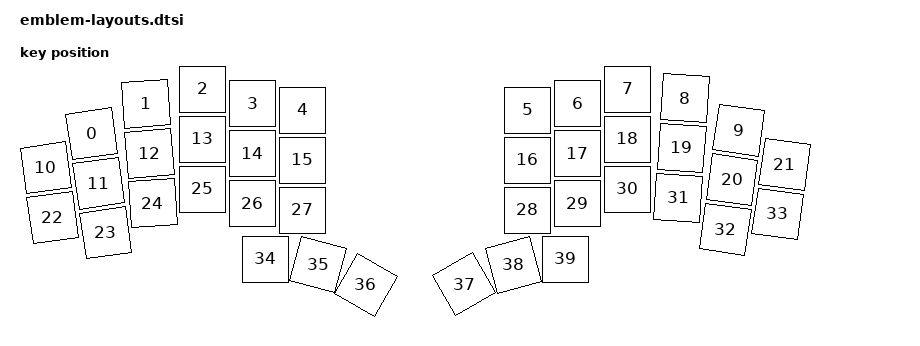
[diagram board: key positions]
#include <physical_layouts.dtsi>

/ {
    emblem_layout: emblem_layout {
        compatible = "zmk,physical-layout";
        display-name = "Emblem Layout";

        keys  //                     w   h    x    y     rot    rx    ry
            = <&key_physical_attrs 100 100  100   95  (-800)   100   300>
            , <&key_physical_attrs 100 100  195   32  (-400)   200   200>
            , <&key_physical_attrs 100 100  300    0       0     0     0>
            , <&key_physical_attrs 100 100  400   29       0     0     0>
            , <&key_physical_attrs 100 100  500   42       0     0     0>
            , <&key_physical_attrs 100 100  950   42       0     0     0>
            , <&key_physical_attrs 100 100 1050   29       0     0     0>
            , <&key_physical_attrs 100 100 1150    0       0     0     0>
            , <&key_physical_attrs 100 100 1249   32     400  1500   300>
            , <&key_physical_attrs 100 100 1350   95     800  1500   300>
            , <&key_physical_attrs 100 100    0  150  (-800)   100   300>
            , <&key_physical_attrs 100 100  100  195  (-800)   100   300>
            , <&key_physical_attrs 100 100  195  132  (-400)   200   200>
            , <&key_physical_attrs 100 100  300  100       0     0     0>
            , <&key_physical_attrs 100 100  400  129       0     0     0>
            , <&key_physical_attrs 100 100  500  142       0     0     0>
            , <&key_physical_attrs 100 100  950  142       0     0     0>
            , <&key_physical_attrs 100 100 1050  129       0     0     0>
            , <&key_physical_attrs 100 100 1150  100       0     0     0>
            , <&key_physical_attrs 100 100 1249  132     400  1500   300>
            , <&key_physical_attrs 100 100 1350  195     800  1500   300>
            , <&key_physical_attrs 100 100 1450  150     800  1500   300>
            , <&key_physical_attrs 100 100    0  250  (-800)   100   300>
            , <&key_physical_attrs 100 100  100  295  (-800)   100   300>
            , <&key_physical_attrs 100 100  195  232  (-400)   200   200>
            , <&key_physical_attrs 100 100  300  200       0     0     0>
            , <&key_physical_attrs 100 100  400  229       0     0     0>
            , <&key_physical_attrs 100 100  500  242       0     0     0>
            , <&key_physical_attrs 100 100  950  242       0     0     0>
            , <&key_physical_attrs 100 100 1050  229       0     0     0>
            , <&key_physical_attrs 100 100 1150  200       0     0     0>
            , <&key_physical_attrs 100 100 1249  232     400  1500   300>
            , <&key_physical_attrs 100 100 1350  295     800  1500   300>
            , <&key_physical_attrs 100 100 1450  250     800  1500   300>
            , <&key_physical_attrs 100 100  425  340       0   530   455>
            , <&key_physical_attrs 100 100  515  340    1500   530   455>
            , <&key_physical_attrs 100 100  600  320    3000   530   455>
            , <&key_physical_attrs 100 100  830  394 (-3000)   870   455>
            , <&key_physical_attrs 100 100  932  380 (-1500)   870   455>
            , <&key_physical_attrs 100 100 1025  340       0   870   455>
            ;
    };

    emblem_position_map {
        compatible = "zmk,physical-layout-position-map";

        complete;

        default {
            physical-layout = <&emblem_layout>;
            positions
                = <    0  1  2  3  4          5  6  7  8  9   >
                , <10 11 12 13 14 15         16 17 18 19 20 21>
                , <22 23 24 25 26 27         28 29 30 31 32 33>
                , <         34 35 36         37 38 39         >;
        };
    };
};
